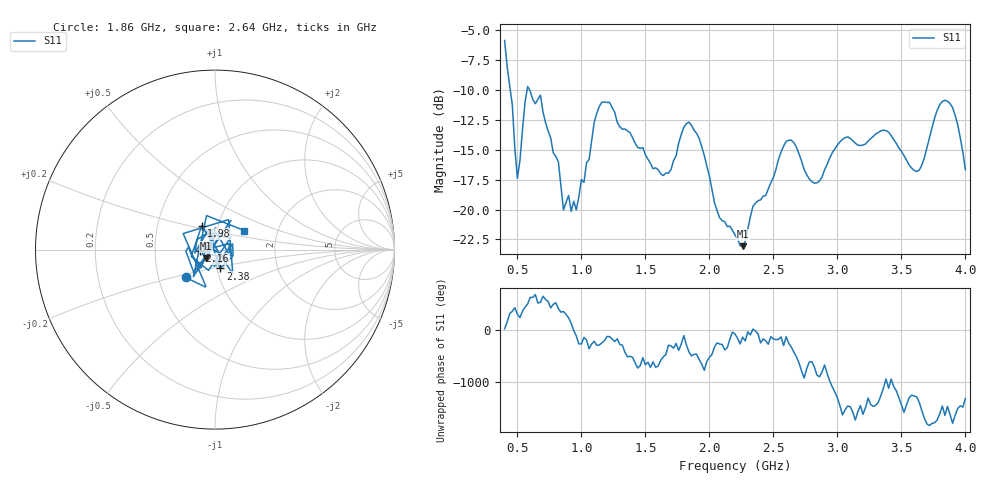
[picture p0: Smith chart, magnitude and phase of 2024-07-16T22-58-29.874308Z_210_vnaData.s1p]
!Created with skrf (http://scikit-rf.org).
# Hz S RI R 50.0
!freq ReS11 ImS11
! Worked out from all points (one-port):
!   181 points, 400 MHz to 4 GHz, reference 50 ohm
!   lowest |S11| = -23.1 dB at 2.26 GHz (marker M1), VSWR 1.15, Z = 45 - j4.47 ohm
!   |S11| at or under -10 dB: 444.3 MHz to 575.2 MHz (130.9 MHz wide, 25.7 % of centre); 595.7 MHz to end of sweep
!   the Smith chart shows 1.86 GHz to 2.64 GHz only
!   S11 on the Smith chart (normalised r, x): 1.86 GHz: 0.69, -0.23; 1.98 GHz: 0.83, +0.23; 2.16 GHz: 0.84, -0.01; 2.38 GHz: 1.04, -0.22; 2.64 GHz: 1.35, +0.30
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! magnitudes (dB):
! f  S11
! 400 MHz  -5.8
! 460 MHz  -11.2
! 500 MHz  -17.4
! 580 MHz  -9.7
! 680 MHz  -10.4
! 820 MHz  -16.0
! 860 MHz  -20.0
! 960 MHz  -20.0
! 1.16 GHz  -11.0
! 1.3 GHz  -13.1
! 1.64 GHz  -17.1
! 1.76 GHz  -14.4
! 1.86 GHz  -12.9
! 1.98 GHz  -16.4
! 2.16 GHz  -21.4
! 2.2 GHz  -22.1
! 2.26 GHz  -23.1
! 2.38 GHz  -19.3
! 2.64 GHz  -14.2
! 2.66 GHz  -14.4
! 2.82 GHz  -17.8
! 3.1 GHz  -14.0
! 3.38 GHz  -13.4
! 3.56 GHz  -16.3
! 3.64 GHz  -16.7
! 3.84 GHz  -10.9
! 3.92 GHz  -12.1
! 4 GHz  -16.7
